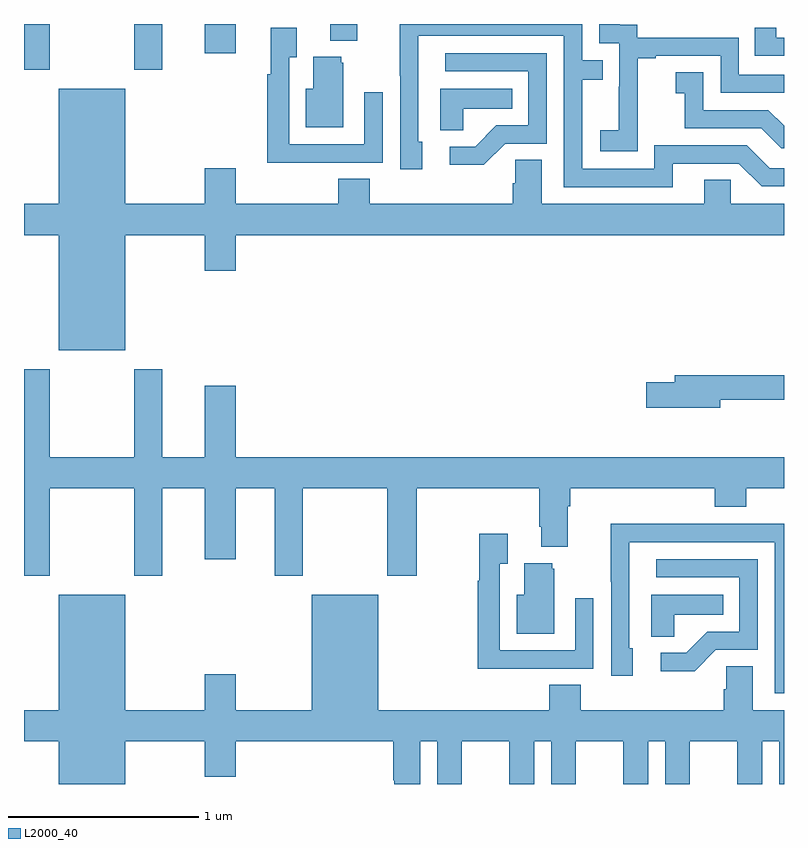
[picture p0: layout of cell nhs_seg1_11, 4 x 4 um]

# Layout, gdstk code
import gdstk
lib = gdstk.Library(unit=1e-6, precision=1e-09)
def R(c, l, rs):  # rectangles x0, y0, x1, y1
    for r in rs: c.add(gdstk.rectangle(r[:2], r[2:], *l))
def P(c, l, *ps):  # polygons
    for p in ps: c.add(gdstk.Polygon(p, *l))
L2000_40 = (2000, 40)

nhs_seg1_11 = lib.new_cell('nhs_seg1_11')
R(nhs_seg1_11, L2000_40, [(111,529.959,111.135,530.199), (111.58,529.959,111.727,530.199), (111.95,530.046,112.114,530.199), (112.613,530.111,112.753,530.199)])
P(nhs_seg1_11, L2000_40, [(114.231,529.735),(114.23,529.735),(114.23,530.019),(114.325,530.019),(114.325,530.031),(114.666,530.031),(114.666,529.836),(115,529.836),(115,529.932),(114.762,529.932),(114.762,530.127),(114.228,530.127),(114.228,530.196),(114.136,530.196),(114.136,530.199),(114.027,530.199),(114.027,530.097),(114.132,530.097),(114.132,529.868),(114.131,529.868),(114.131,529.639),(114.033,529.639),(114.033,529.529),(114.231,529.529)],
  [(114.415,529.464),(114.762,529.464),(114.882,529.344),(115,529.344),(115,529.44),(114.924,529.44),(114.804,529.56),(114.318,529.56),(114.318,529.437),(113.937,529.437),(113.937,529.906),(114.047,529.906),(114.047,530.007),(113.937,530.007),(113.937,530.199),(112.978,530.199),(112.978,529.927),(112.98,529.927),(112.98,529.434),(113.095,529.434),(113.095,529.578),(113.076,529.578),(113.076,530.136),(113.841,530.136),(113.841,529.341),(114.415,529.341)],
  [(115,530.127),(114.958,530.127),(114.958,530.179),(114.847,530.179),(114.847,530.031),(115,530.031)],
  [(112.571,529.47),(112.887,529.47),(112.887,529.84),(112.791,529.84),(112.791,529.566),(112.395,529.566),(112.395,530.023),(112.435,530.023),(112.435,530.179),(112.298,530.179),(112.298,529.934),(112.279,529.934),(112.279,529.469),(112.571,529.469)],
  [(113.532,529.569),(113.751,529.569),(113.751,530.046),(113.217,530.046),(113.217,529.95),(113.655,529.95),(113.655,529.665),(113.486,529.665),(113.375,529.554),(113.241,529.554),(113.241,529.457),(113.419,529.457)],
  [(112.681,529.995),(112.67,529.995),(112.67,530.026),(112.523,530.026),(112.523,529.858),(112.484,529.858),(112.484,529.655),(112.681,529.655)],
  [(115,529.664),(114.918,529.746),(114.576,529.746),(114.576,529.945),(114.429,529.945),(114.429,529.835),(114.478,529.835),(114.478,529.65),(114.881,529.65),(114.986,529.545),(115,529.545)],
  [(111.532,529.088),(111.95,529.088),(111.95,528.9),(112.114,528.9),(112.114,529.088),(115,529.088),(115,529.252),(114.72,529.252),(114.72,529.379),(114.581,529.379),(114.581,529.252),(113.725,529.252),(113.725,529.484),(113.586,529.484),(113.586,529.361),(113.573,529.361),(113.573,529.252),(112.82,529.252),(112.82,529.385),(112.655,529.385),(112.655,529.252),(112.114,529.252),(112.114,529.441),(111.95,529.441),(111.95,529.252),(111.532,529.252),(111.532,529.858),(111.182,529.858),(111.182,529.252),(111,529.252),(111,529.088),(111.182,529.088),(111.182,528.482),(111.532,528.482)],
  [(113.313,529.754),(113.57,529.754),(113.57,529.858),(113.192,529.858),(113.192,529.639),(113.313,529.639)],
  [(111.135,527.756),(111.58,527.756),(111.58,527.295),(111.727,527.295),(111.727,527.756),(111.95,527.756),(111.95,527.382),(112.114,527.382),(112.114,527.756),(112.319,527.756),(112.319,527.295),(112.467,527.295),(112.467,527.756),(112.912,527.756),(112.912,527.295),(113.067,527.295),(113.067,527.756),(113.711,527.756),(113.711,527.554),(113.723,527.554),(113.723,527.447),(113.863,527.447),(113.863,527.66),(113.876,527.66),(113.876,527.756),(114.635,527.756),(114.635,527.657),(114.8,527.657),(114.8,527.756),(115,527.756),(115,527.92),(112.114,527.92),(112.114,528.295),(111.95,528.295),(111.95,527.92),(111.727,527.92),(111.727,528.382),(111.58,528.382),(111.58,527.92),(111.135,527.92),(111.135,528.382),(111,528.382),(111,527.295),(111.135,527.295)],
  [(114.664,528.222),(115,528.222),(115,528.35),(114.425,528.35),(114.425,528.314),(114.276,528.314),(114.276,528.179),(114.664,528.179)],
  [(115,527.568),(114.551,527.568),(114.551,527.57),(114.088,527.57),(114.088,527.263),(114.09,527.263),(114.09,526.77),(114.205,526.77),(114.205,526.914),(114.186,526.914),(114.186,527.472),(114.951,527.472),(114.951,526.677),(115,526.677)],
  [(113.681,526.806),(113.997,526.806),(113.997,527.176),(113.901,527.176),(113.901,526.902),(113.505,526.902),(113.505,527.359),(113.545,527.359),(113.545,527.515),(113.397,527.515),(113.397,527.27),(113.389,527.27),(113.389,526.805),(113.681,526.805)],
  [(114.642,526.905),(114.861,526.905),(114.861,527.382),(114.327,527.382),(114.327,527.286),(114.765,527.286),(114.765,527.001),(114.596,527.001),(114.485,526.89),(114.351,526.89),(114.351,526.793),(114.529,526.793)],
  [(113.791,527.331),(113.78,527.331),(113.78,527.362),(113.633,527.362),(113.633,527.194),(113.594,527.194),(113.594,526.991),(113.791,526.991)],
  [(111.532,526.424),(111.95,526.424),(111.95,526.236),(112.114,526.236),(112.114,526.424),(112.943,526.424),(112.943,526.219),(112.949,526.219),(112.949,526.199),(113.086,526.199),(113.086,526.424),(113.174,526.424),(113.174,526.199),(113.305,526.199),(113.305,526.424),(113.555,526.424),(113.555,526.199),(113.686,526.199),(113.686,526.424),(113.774,526.424),(113.774,526.199),(113.905,526.199),(113.905,526.424),(114.155,526.424),(114.155,526.199),(114.286,526.199),(114.286,526.424),(114.374,526.424),(114.374,526.199),(114.505,526.199),(114.505,526.424),(114.755,526.424),(114.755,526.199),(114.886,526.199),(114.886,526.424),(114.974,526.424),(114.974,526.199),(115,526.199),(115,526.588),(114.835,526.588),(114.835,526.82),(114.696,526.82),(114.696,526.697),(114.683,526.697),(114.683,526.588),(113.93,526.588),(113.93,526.721),(113.765,526.721),(113.765,526.588),(112.864,526.588),(112.864,527.194),(112.514,527.194),(112.514,526.588),(112.114,526.588),(112.114,526.777),(111.95,526.777),(111.95,526.588),(111.532,526.588),(111.532,527.194),(111.182,527.194),(111.182,526.588),(111,526.588),(111,526.424),(111.182,526.424),(111.182,526.199),(111.532,526.199)],
  [(114.423,527.09),(114.68,527.09),(114.68,527.194),(114.302,527.194),(114.302,526.975),(114.423,526.975)])

lib.write_gds('nhs_seg1_11.gds')
